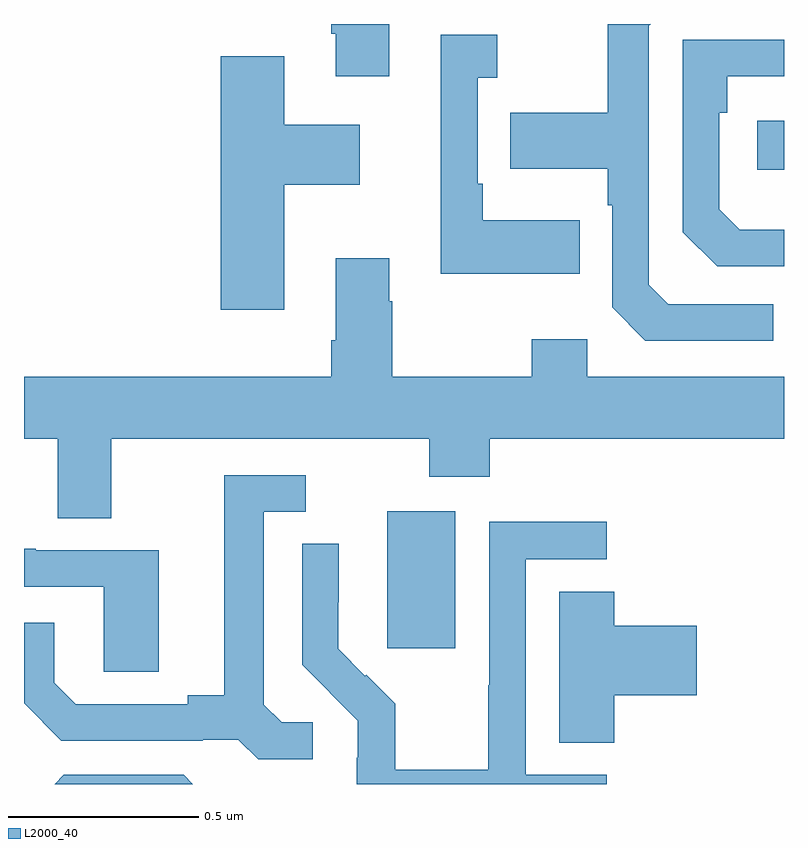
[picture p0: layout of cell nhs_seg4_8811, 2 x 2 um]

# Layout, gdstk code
import gdstk
lib = gdstk.Library(unit=1e-6, precision=1e-09)
def R(c, l, rs):  # rectangles x0, y0, x1, y1
    for r in rs: c.add(gdstk.rectangle(r[:2], r[2:], *l))
def P(c, l, *ps):  # polygons
    for p in ps: c.add(gdstk.Polygon(p, *l))
L2000_40 = (2000, 40)

nhs_seg4_8811 = lib.new_cell('nhs_seg4_8811')
R(nhs_seg4_8811, L2000_40, [(219.956,808.257,220.135,808.618), (220.929,809.516,221,809.646)])
P(nhs_seg4_8811, L2000_40, [(219.961,809.9),(219.809,809.9),(219.809,809.875),(219.821,809.875),(219.821,809.763),(219.961,809.763)],
  [(220.972,809.163),(220.695,809.163),(220.644,809.214),(220.644,809.895),(220.649,809.9),(220.536,809.9),(220.536,809.667),(220.279,809.667),(220.279,809.519),(220.536,809.519),(220.536,809.423),(220.548,809.423),(220.548,809.154),(220.635,809.067),(220.972,809.067)],
  [(220.463,809.383),(220.207,809.383),(220.207,809.479),(220.194,809.479),(220.194,809.759),(220.246,809.759),(220.246,809.872),(220.097,809.872),(220.097,809.243),(220.463,809.243)],
  [(221,809.359),(220.883,809.359),(220.83,809.412),(220.83,809.666),(220.85,809.666),(220.85,809.763),(221,809.763),(221,809.859),(220.734,809.859),(220.734,809.352),(220.824,809.262),(221,809.262)],
  [(219.685,809.477),(219.883,809.477),(219.883,809.635),(219.685,809.635),(219.685,809.815),(219.518,809.815),(219.518,809.148),(219.685,809.148)],
  [(219.229,808.808),(220.066,808.808),(220.066,808.709),(220.226,808.709),(220.226,808.808),(221,808.808),(221,808.972),(220.482,808.972),(220.482,809.071),(220.336,809.071),(220.336,808.972),(219.969,808.972),(219.969,809.171),(219.961,809.171),(219.961,809.284),(219.821,809.284),(219.821,809.068),(219.809,809.068),(219.809,808.972),(219,808.972),(219,808.808),(219.089,808.808),(219.089,808.6),(219.229,808.6)],
  [(219.76,808.062),(219.678,808.062),(219.631,808.109),(219.631,808.617),(219.742,808.617),(219.742,808.713),(219.527,808.713),(219.527,808.133),(219.431,808.133),(219.431,808.11),(219.136,808.11),(219.079,808.167),(219.079,808.324),(219,808.324),(219,808.112),(219.098,808.014),(219.47,808.014),(219.47,808.017),(219.564,808.017),(219.616,807.965),(219.76,807.965)],
  [(220.534,807.924),(220.32,807.924),(220.32,808.491),(220.534,808.491),(220.534,808.59),(220.224,808.59),(220.224,808.16),(220.222,808.16),(220.222,807.937),(219.977,807.937),(219.977,808.111),(219.9,808.188),(219.897,808.185),(219.827,808.256),(219.827,808.378),(219.828,808.378),(219.828,808.532),(219.732,808.532),(219.732,808.214),(219.805,808.141),(219.804,808.14),(219.878,808.066),(219.878,807.969),(219.876,807.969),(219.876,807.9),(220.534,807.9)],
  [(219.355,808.515),(219.031,808.515),(219.031,808.519),(219,808.519),(219,808.419),(219.21,808.419),(219.21,808.195),(219.355,808.195)],
  [(220.553,808.133),(220.771,808.133),(220.771,808.316),(220.553,808.316),(220.553,808.406),(220.409,808.406),(220.409,808.009),(220.553,808.009)],
  [(219.42,807.924),(219.105,807.924),(219.081,807.9),(219.444,807.9)])

lib.write_gds('nhs_seg4_8811.gds')
